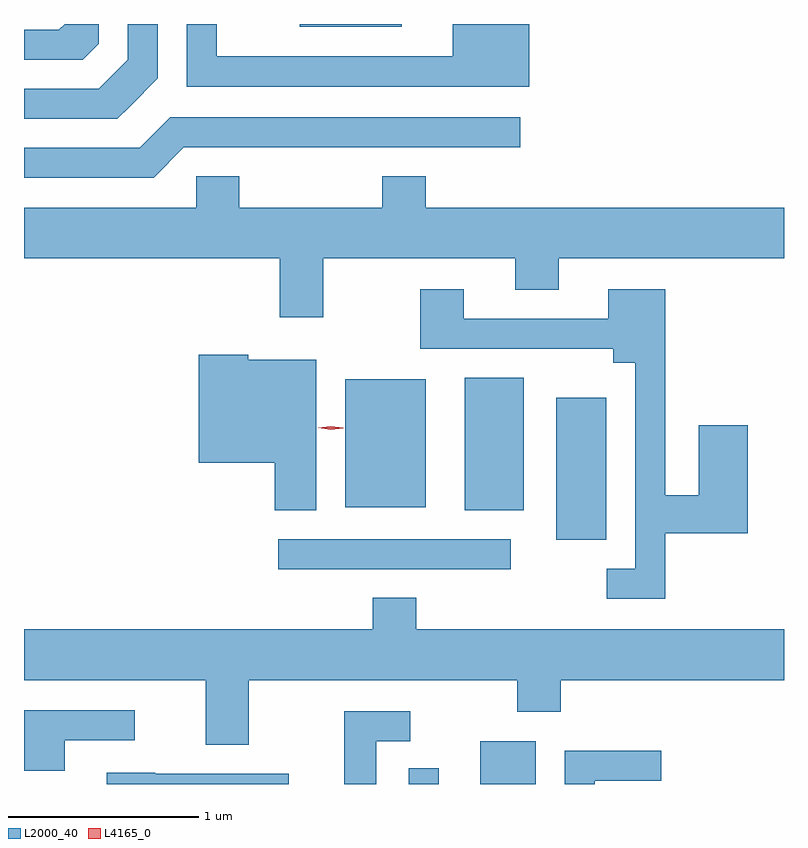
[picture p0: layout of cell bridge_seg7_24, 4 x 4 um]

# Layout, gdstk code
import gdstk
lib = gdstk.Library(unit=1e-6, precision=1e-09)
def R(c, l, rs):  # rectangles x0, y0, x1, y1
    for r in rs: c.add(gdstk.rectangle(r[:2], r[2:], *l))
def P(c, l, *ps):  # polygons
    for p in ps: c.add(gdstk.Polygon(p, *l))
L2000_40 = (2000, 40)
L4165_0 = (4165, 0)

bridge_seg7_24 = lib.new_cell('bridge_seg7_24')
R(bridge_seg7_24, L2000_40, [(1845.481,1787.03,1845.639,1787.113), (1845.856,1787.03,1846.149,1787.254), (1844.793,1788.161,1846.018,1788.319), (1846.256,1788.316,1846.519,1789.064), (1845.776,1788.471,1846.084,1789.169), (1845.146,1788.486,1845.569,1789.159), (1844.906,1791.016,1845.444,1791.03)])
P(bridge_seg7_24, L2000_40, [(1846.114,1791.03),(1845.711,1791.03),(1845.711,1790.859),(1844.469,1790.859),(1844.469,1791.03),(1844.311,1791.03),(1844.311,1790.701),(1846.114,1790.701)],
  [(1844.013,1790.597),(1844.159,1790.744),(1844.159,1791.03),(1844.001,1791.03),(1844.001,1790.842),(1843.849,1790.689),(1843.455,1790.689),(1843.455,1790.531),(1843.947,1790.531)],
  [(1843.849,1790.927),(1843.849,1791.03),(1843.669,1791.03),(1843.639,1790.999),(1843.455,1790.999),(1843.455,1790.841),(1843.764,1790.841)],
  [(1844.297,1790.381),(1846.068,1790.381),(1846.068,1790.539),(1844.224,1790.539),(1844.064,1790.379),(1843.455,1790.379),(1843.455,1790.221),(1844.137,1790.221)],
  [(1845.029,1789.796),(1846.041,1789.796),(1846.041,1789.631),(1846.269,1789.631),(1846.269,1789.796),(1847.455,1789.796),(1847.455,1790.064),(1845.569,1790.064),(1845.569,1790.229),(1845.341,1790.229),(1845.341,1790.064),(1844.589,1790.064),(1844.589,1790.229),(1844.361,1790.229),(1844.361,1790.064),(1843.455,1790.064),(1843.455,1789.796),(1844.801,1789.796),(1844.801,1789.486),(1845.029,1789.486)],
  [(1846.829,1788.351),(1847.264,1788.351),(1847.264,1788.919),(1847.006,1788.919),(1847.006,1788.549),(1846.829,1788.549),(1846.829,1789.634),(1846.531,1789.634),(1846.531,1789.479),(1845.769,1789.479),(1845.769,1789.634),(1845.541,1789.634),(1845.541,1789.321),(1846.556,1789.321),(1846.556,1789.246),(1846.671,1789.246),(1846.671,1788.164),(1846.523,1788.164),(1846.523,1788.006),(1846.829,1788.006)],
  [(1844.994,1789.264),(1844.634,1789.264),(1844.634,1789.289),(1844.376,1789.289),(1844.376,1788.721),(1844.776,1788.721),(1844.776,1788.471),(1844.994,1788.471)],
  [(1844.639,1787.576),(1846.051,1787.576),(1846.051,1787.411),(1846.279,1787.411),(1846.279,1787.576),(1847.455,1787.576),(1847.455,1787.844),(1845.519,1787.844),(1845.519,1788.009),(1845.291,1788.009),(1845.291,1787.844),(1843.455,1787.844),(1843.455,1787.576),(1844.411,1787.576),(1844.411,1787.236),(1844.639,1787.236)],
  [(1843.669,1787.261),(1844.038,1787.261),(1844.038,1787.419),(1843.455,1787.419),(1843.455,1787.101),(1843.669,1787.101)],
  [(1845.309,1787.256),(1845.488,1787.256),(1845.488,1787.414),(1845.141,1787.414),(1845.141,1787.03),(1845.309,1787.03)],
  [(1846.459,1787.046),(1846.808,1787.046),(1846.808,1787.204),(1846.301,1787.204),(1846.301,1787.03),(1846.459,1787.03)],
  [(1844.849,1787.084),(1844.145,1787.084),(1844.145,1787.089),(1843.891,1787.089),(1843.891,1787.03),(1844.849,1787.03)])
P(bridge_seg7_24, L4165_0, [(1845.07,1788.894),(1845.004,1788.904),(1845.004,1788.904),(1845.004,1788.905),(1845.07,1788.914),(1845.136,1788.904),(1845.136,1788.903),(1845.136,1788.902)])

lib.write_gds('bridge_seg7_24.gds')
